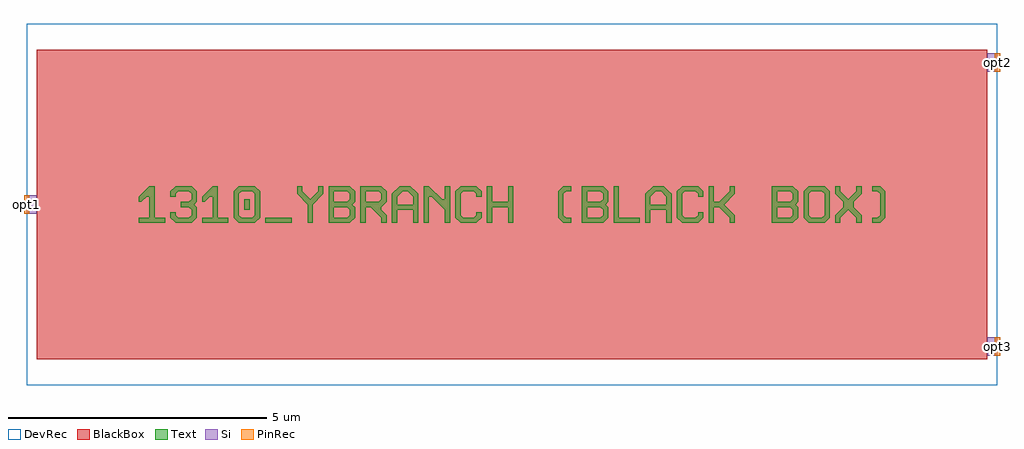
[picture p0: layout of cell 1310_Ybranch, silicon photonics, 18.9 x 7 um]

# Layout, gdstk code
import gdstk
lib = gdstk.Library(unit=1e-6, precision=1e-09)
def R(c, l, rs):  # rectangles x0, y0, x1, y1
    for r in rs: c.add(gdstk.rectangle(r[:2], r[2:], *l))
def P(c, l, *ps):  # polygons
    for p in ps: c.add(gdstk.Polygon(p, *l))
Si = (1, 0)
PinRec = (1, 10)
Text = (10, 0)
DevRec = (68, 0)
BlackBox = (998, 0)

text = lib.new_cell('TEXT')
R(text, Text, [(2.452,0,2.963,0.102), (2.043,0.256,2.146,0.46)])
P(text, Text, [(0,0),(0,0.102),(0.204,0.102),(0.204,0.511),(0.153,0.511),(0.051,0.409),(0,0.409),(0,0.511),(0.204,0.716),(0.307,0.716),(0.307,0.102),(0.511,0.102),(0.511,0)],
  [(0.715,0),(0.613,0.102),(0.613,0.204),(0.715,0.204),(0.715,0.153),(0.766,0.102),(0.971,0.102),(1.022,0.153),(1.022,0.256),(0.971,0.307),(0.817,0.307),(0.817,0.409),(0.971,0.409),(1.022,0.46),(1.022,0.562),(0.971,0.613),(0.766,0.613),(0.715,0.562),(0.715,0.511),(0.613,0.511),(0.613,0.613),(0.715,0.716),(1.022,0.716),(1.124,0.613),(1.124,0.409),(1.073,0.358),(1.124,0.307),(1.124,0.102),(1.022,0)],
  [(1.226,0),(1.226,0.102),(1.43,0.102),(1.43,0.511),(1.379,0.511),(1.277,0.409),(1.226,0.409),(1.226,0.511),(1.43,0.716),(1.533,0.716),(1.533,0.102),(1.737,0.102),(1.737,0)],
  [(1.941,0),(1.839,0.102),(1.839,0.613),(1.941,0.716),(2.248,0.716),(2.35,0.613),(1.992,0.613),(1.941,0.562),(1.941,0.153),(1.992,0.102),(2.197,0.102),(2.248,0.153),(2.248,0.562),(2.197,0.613),(2.35,0.613),(2.35,0.102),(2.248,0)],
  [(3.269,0),(3.269,0.358),(3.065,0.562),(3.065,0.716),(3.167,0.716),(3.167,0.613),(3.321,0.46),(3.474,0.613),(3.474,0.716),(3.576,0.716),(3.576,0.562),(3.372,0.358),(3.372,0)],
  [(3.678,0),(3.678,0.716),(4.087,0.716),(4.189,0.613),(3.78,0.613),(3.78,0.409),(4.036,0.409),(4.087,0.46),(4.087,0.562),(4.036,0.613),(4.189,0.613),(4.189,0.409),(4.138,0.358),(4.189,0.307),(3.78,0.307),(3.78,0.102),(4.036,0.102),(4.087,0.153),(4.087,0.256),(4.036,0.307),(4.189,0.307),(4.189,0.102),(4.087,0)],
  [(4.291,0),(4.291,0.716),(4.7,0.716),(4.802,0.613),(4.393,0.613),(4.393,0.409),(4.649,0.409),(4.7,0.46),(4.7,0.562),(4.649,0.613),(4.802,0.613),(4.802,0.409),(4.7,0.307),(4.7,0.256),(4.802,0.153),(4.802,0),(4.7,0),(4.7,0.102),(4.495,0.307),(4.393,0.307),(4.393,0)],
  [(4.904,0),(4.904,0.562),(5.057,0.716),(5.262,0.716),(5.364,0.613),(5.108,0.613),(5.006,0.511),(5.006,0.358),(5.313,0.358),(5.313,0.511),(5.211,0.613),(5.364,0.613),(5.415,0.562),(5.415,0),(5.313,0),(5.313,0.256),(5.006,0.256),(5.006,0)],
  [(5.517,0),(5.517,0.716),(5.619,0.716),(5.875,0.46),(5.926,0.46),(5.926,0.716),(6.028,0.716),(6.028,0),(5.926,0),(5.926,0.256),(5.67,0.511),(5.619,0.511),(5.619,0)],
  [(6.232,0),(6.13,0.102),(6.13,0.613),(6.232,0.716),(6.539,0.716),(6.641,0.613),(6.641,0.511),(6.539,0.511),(6.539,0.562),(6.488,0.613),(6.283,0.613),(6.232,0.562),(6.232,0.153),(6.283,0.102),(6.488,0.102),(6.539,0.153),(6.539,0.204),(6.641,0.204),(6.641,0.102),(6.539,0)],
  [(6.743,0),(6.743,0.716),(6.845,0.716),(6.845,0.409),(7.152,0.409),(7.152,0.716),(7.254,0.716),(7.254,0),(7.152,0),(7.152,0.307),(6.845,0.307),(6.845,0)],
  [(8.225,0),(8.122,0.102),(8.122,0.613),(8.225,0.716),(8.378,0.716),(8.378,0.613),(8.276,0.613),(8.225,0.562),(8.225,0.153),(8.276,0.102),(8.378,0.102),(8.378,0)],
  [(8.582,0),(8.582,0.716),(8.991,0.716),(9.093,0.613),(8.684,0.613),(8.684,0.409),(8.94,0.409),(8.991,0.46),(8.991,0.562),(8.94,0.613),(9.093,0.613),(9.093,0.409),(9.042,0.358),(9.093,0.307),(8.684,0.307),(8.684,0.102),(8.94,0.102),(8.991,0.153),(8.991,0.256),(8.94,0.307),(9.093,0.307),(9.093,0.102),(8.991,0)],
  [(9.195,0),(9.195,0.716),(9.297,0.716),(9.297,0.102),(9.706,0.102),(9.706,0)],
  [(9.808,0),(9.808,0.562),(9.961,0.716),(10.166,0.716),(10.268,0.613),(10.012,0.613),(9.91,0.511),(9.91,0.358),(10.217,0.358),(10.217,0.511),(10.115,0.613),(10.268,0.613),(10.319,0.562),(10.319,0),(10.217,0),(10.217,0.256),(9.91,0.256),(9.91,0)],
  [(10.523,0),(10.421,0.102),(10.421,0.613),(10.523,0.716),(10.83,0.716),(10.932,0.613),(10.932,0.511),(10.83,0.511),(10.83,0.562),(10.779,0.613),(10.574,0.613),(10.523,0.562),(10.523,0.153),(10.574,0.102),(10.779,0.102),(10.83,0.153),(10.83,0.204),(10.932,0.204),(10.932,0.102),(10.83,0)],
  [(11.034,0),(11.034,0.716),(11.136,0.716),(11.136,0.409),(11.238,0.409),(11.443,0.613),(11.443,0.716),(11.545,0.716),(11.545,0.562),(11.341,0.358),(11.545,0.153),(11.545,0),(11.443,0),(11.443,0.102),(11.238,0.307),(11.136,0.307),(11.136,0)],
  [(12.26,0),(12.26,0.716),(12.669,0.716),(12.771,0.613),(12.362,0.613),(12.362,0.409),(12.618,0.409),(12.669,0.46),(12.669,0.562),(12.618,0.613),(12.771,0.613),(12.771,0.409),(12.72,0.358),(12.771,0.307),(12.362,0.307),(12.362,0.102),(12.618,0.102),(12.669,0.153),(12.669,0.256),(12.618,0.307),(12.771,0.307),(12.771,0.102),(12.669,0)],
  [(12.975,0),(12.873,0.102),(12.873,0.613),(12.975,0.716),(13.282,0.716),(13.384,0.613),(13.384,0.358),(13.282,0.358),(13.282,0.562),(13.231,0.613),(13.026,0.613),(12.975,0.562),(12.975,0.153),(13.026,0.102),(13.231,0.102),(13.282,0.153),(13.282,0.358),(13.384,0.358),(13.384,0.102),(13.282,0)],
  [(13.486,0),(13.486,0.153),(13.639,0.307),(13.639,0.409),(13.486,0.562),(13.486,0.716),(13.588,0.716),(13.588,0.613),(13.742,0.46),(13.895,0.613),(13.895,0.716),(13.997,0.716),(13.997,0.562),(13.844,0.409),(13.844,0.307),(13.997,0.153),(13.997,0),(13.895,0),(13.895,0.102),(13.742,0.256),(13.588,0.102),(13.588,0)],
  [(14.201,0),(14.201,0.102),(14.303,0.102),(14.355,0.153),(14.355,0.562),(14.303,0.613),(14.201,0.613),(14.201,0.716),(14.355,0.716),(14.457,0.613),(14.457,0.102),(14.355,0)])

c_1310_ybranch = lib.new_cell('1310_Ybranch')
R(c_1310_ybranch, Si, [(9.2,-2.925,9.4,-2.575), (-9.4,-0.175,-9.2,0.175), (9.2,2.575,9.4,2.925)])
R(c_1310_ybranch, DevRec, [(-9.4,-3.5,9.4,3.5)])
R(c_1310_ybranch, BlackBox, [(-9.2,-3,9.2,3)])
c_1310_ybranch.add(gdstk.FlexPath([(9.35,2.75),(9.45,2.75)], 0.35, ends="flush", simple_path=True, layer=1, datatype=10))  # PinRec
c_1310_ybranch.add(gdstk.FlexPath([(9.35,-2.75),(9.45,-2.75)], 0.35, ends="flush", simple_path=True, layer=1, datatype=10))  # PinRec
c_1310_ybranch.add(gdstk.FlexPath([(-9.35,0),(-9.45,0)], 0.35, ends="flush", simple_path=True, layer=1, datatype=10))  # PinRec
c_1310_ybranch.add(gdstk.Reference(text, (-7.228,-0.358)))
c_1310_ybranch.add(gdstk.Label('opt2', (9.4,2.75), layer=1, texttype=10))
c_1310_ybranch.add(gdstk.Label('opt3', (9.4,-2.75), layer=1, texttype=10))
c_1310_ybranch.add(gdstk.Label('opt1', (-9.4,0), layer=1, texttype=10))

lib.write_gds('1310_Ybranch.gds')
